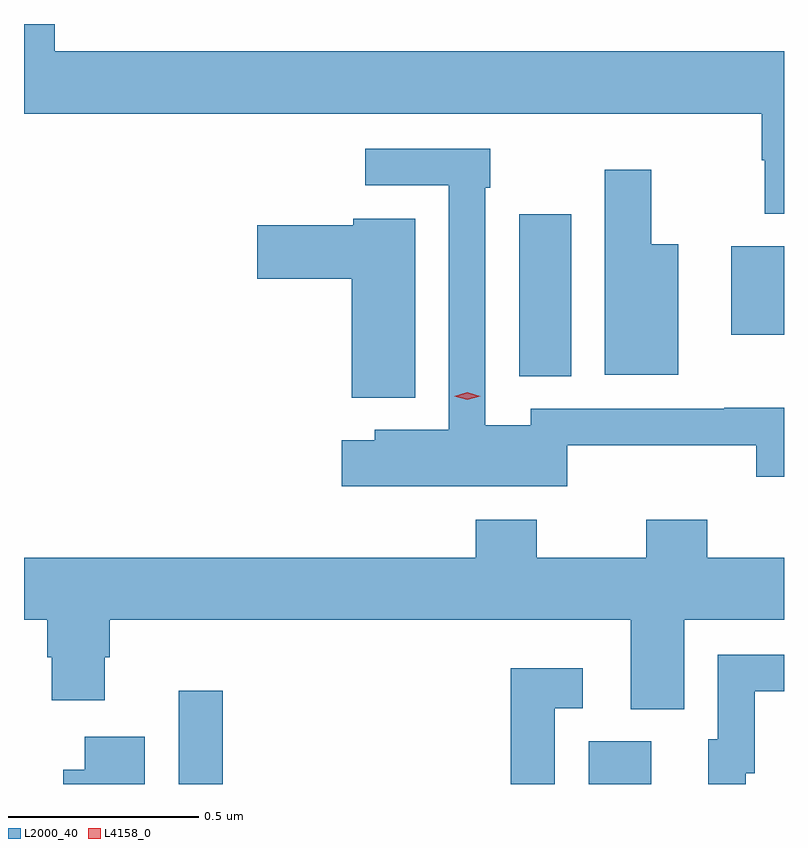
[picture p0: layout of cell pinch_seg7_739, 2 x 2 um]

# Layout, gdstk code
import gdstk
lib = gdstk.Library(unit=1e-6, precision=1e-09)
def R(c, l, rs):  # rectangles x0, y0, x1, y1
    for r in rs: c.add(gdstk.rectangle(r[:2], r[2:], *l))
def P(c, l, *ps):  # polygons
    for p in ps: c.add(gdstk.Polygon(p, *l))
L2000_40 = (2000, 40)
L4158_0 = (4158, 0)

pinch_seg7_739 = lib.new_cell('pinch_seg7_739')
R(pinch_seg7_739, L2000_40, [(257.925,1000.184,258.041,1000.429), (259.004,1000.184,259.168,1000.296), (258.821,1001.257,258.958,1001.683), (259.379,1001.366,259.518,1001.599)])
P(pinch_seg7_739, L2000_40, [(259.518,1002.112),(257.599,1002.112),(257.599,1002.184),(257.518,1002.184),(257.518,1001.948),(259.459,1001.948),(259.459,1001.825),(259.467,1001.825),(259.467,1001.685),(259.518,1001.685)],
  [(258.948,1001.075),(259.445,1001.075),(259.445,1000.992),(259.518,1000.992),(259.518,1001.174),(259.361,1001.174),(259.361,1001.172),(258.852,1001.172),(258.852,1001.128),(258.732,1001.128),(258.732,1001.753),(258.745,1001.753),(258.745,1001.856),(258.416,1001.856),(258.416,1001.76),(258.636,1001.76),(258.636,1001.116),(258.441,1001.116),(258.441,1001.089),(258.354,1001.089),(258.354,1000.967),(258.948,1000.967)],
  [(259.24,1001.605),(259.168,1001.605),(259.168,1001.8),(259.046,1001.8),(259.046,1001.261),(259.24,1001.261)],
  [(258.547,1001.671),(258.384,1001.671),(258.384,1001.655),(258.132,1001.655),(258.132,1001.513),(258.38,1001.513),(258.38,1001.201),(258.547,1001.201)],
  [(259.255,1000.616),(259.518,1000.616),(259.518,1000.78),(259.316,1000.78),(259.316,1000.879),(259.156,1000.879),(259.156,1000.78),(258.867,1000.78),(258.867,1000.879),(258.707,1000.879),(258.707,1000.78),(257.518,1000.78),(257.518,1000.616),(257.579,1000.616),(257.579,1000.518),(257.591,1000.518),(257.591,1000.404),(257.731,1000.404),(257.731,1000.518),(257.744,1000.518),(257.744,1000.616),(259.115,1000.616),(259.115,1000.381),(259.255,1000.381)],
  [(259.417,1000.212),(259.441,1000.212),(259.441,1000.428),(259.518,1000.428),(259.518,1000.524),(259.344,1000.524),(259.344,1000.302),(259.319,1000.302),(259.319,1000.184),(259.417,1000.184)],
  [(258.915,1000.383),(258.988,1000.383),(258.988,1000.489),(258.799,1000.489),(258.799,1000.184),(258.915,1000.184)],
  [(257.836,1000.309),(257.678,1000.309),(257.678,1000.222),(257.621,1000.222),(257.621,1000.184),(257.836,1000.184)])
P(pinch_seg7_739, L4158_0, [(258.684,1001.195),(258.65,1001.205),(258.649,1001.205),(258.65,1001.205),(258.684,1001.215),(258.719,1001.205),(258.719,1001.205),(258.719,1001.205)])

lib.write_gds('pinch_seg7_739.gds')
